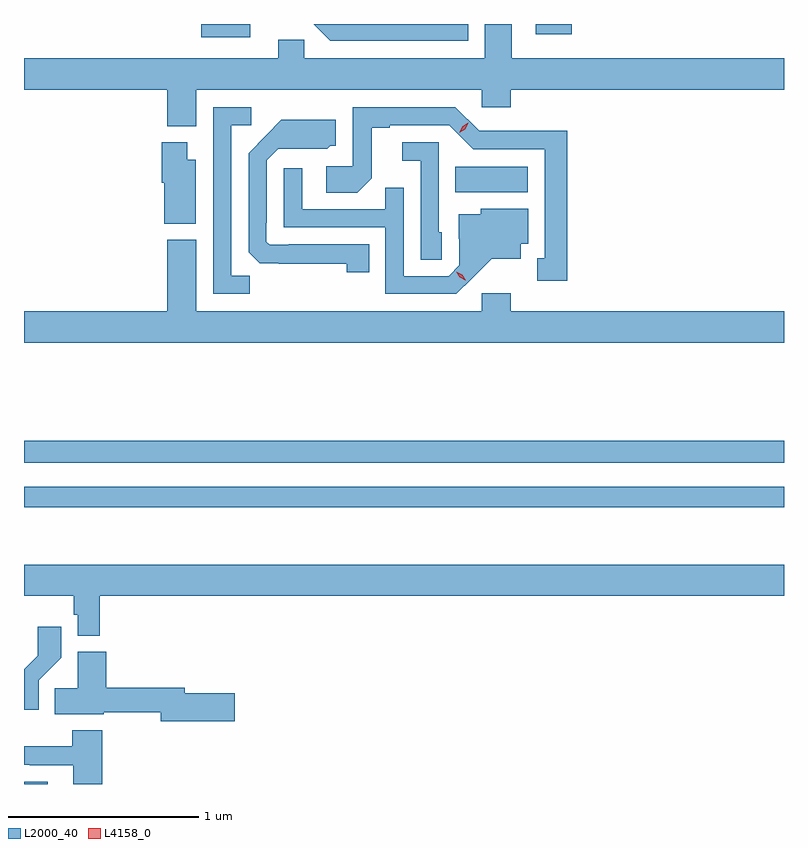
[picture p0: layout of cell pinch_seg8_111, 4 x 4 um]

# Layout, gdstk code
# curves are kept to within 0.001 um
import gdstk
lib = gdstk.Library(unit=1e-6, precision=1e-09)
def R(c, l, rs):  # rectangles x0, y0, x1, y1
    for r in rs: c.add(gdstk.rectangle(r[:2], r[2:], *l))
def P(c, l, *ps):  # polygons
    for p in ps: c.add(gdstk.Polygon(p, *l))
L2000_40 = (2000, 40)
L4158_0 = (4158, 0)

pinch_seg8_111 = lib.new_cell('pinch_seg8_111')
R(pinch_seg8_111, L2000_40, [(1023.765,1084.873,1023.889,1084.886), (1023.765,1086.33,1027.765,1086.438), (1023.765,1086.564,1027.765,1086.68), (1026.034,1087.988,1026.415,1088.122), (1024.699,1088.802,1024.957,1088.873), (1026.459,1088.82,1026.647,1088.873)])
P(pinch_seg8_111, L2000_40, [(1024.672,1088.528),(1026.174,1088.528),(1026.174,1088.435),(1026.326,1088.435),(1026.326,1088.528),(1027.765,1088.528),(1027.765,1088.692),(1026.331,1088.692),(1026.331,1088.873),(1026.191,1088.873),(1026.191,1088.692),(1025.241,1088.692),(1025.241,1088.79),(1025.102,1088.79),(1025.102,1088.692),(1023.765,1088.692),(1023.765,1088.528),(1024.52,1088.528),(1024.52,1088.336),(1024.672,1088.336)],
  [(1026.102,1088.873),(1025.289,1088.873),(1025.378,1088.784),(1026.102,1088.784)],
  [(1024.953,1087.547),(1024.857,1087.547),(1024.857,1088.34),(1024.96,1088.34),(1024.96,1088.436),(1024.761,1088.436),(1024.761,1087.452),(1024.953,1087.452)],
  [(1026.625,1088.312),(1026.384,1088.312),(1026.384,1088.31),(1026.162,1088.31),(1026.036,1088.436),(1025.496,1088.436),(1025.496,1088.124),(1025.355,1088.124),(1025.355,1087.984),(1025.519,1087.984),(1025.595,1088.06),(1025.595,1088.328),(1025.689,1088.328),(1025.689,1088.34),(1026.003,1088.34),(1026.129,1088.214),(1026.506,1088.214),(1026.506,1087.641),(1026.467,1087.641),(1026.467,1087.521),(1026.625,1087.521)],
  [(1025.582,1087.713),(1025.158,1087.713),(1025.158,1087.71),(1025.058,1087.71),(1025.04,1087.728),(1025.04,1087.828),(1025.043,1087.828),(1025.043,1088.157),(1025.103,1088.217),(1025.36,1088.216),(1025.376,1088.232),(1025.407,1088.232),(1025.407,1088.368),(1025.119,1088.368),(1024.947,1088.194),(1024.947,1087.672),(1025.006,1087.613),(1025.464,1087.612),(1025.464,1087.566),(1025.582,1087.566)],
  [(1024.669,1088.158),(1024.624,1088.158),(1024.624,1088.251),(1024.49,1088.251),(1024.49,1088.037),(1024.502,1088.037),(1024.502,1087.823),(1024.669,1087.823)],
  [(1025.964,1087.776),(1025.949,1087.776),(1025.949,1088.25),(1025.757,1088.25),(1025.757,1088.153),(1025.853,1088.153),(1025.853,1087.633),(1025.964,1087.633)],
  [(1026.124,1087.535),(1026.227,1087.637),(1026.379,1087.637),(1026.379,1087.716),(1026.418,1087.716),(1026.418,1087.9),(1026.168,1087.9),(1026.168,1087.873),(1026.053,1087.873),(1026.053,1087.744),(1026.057,1087.744),(1026.057,1087.602),(1026,1087.545),(1025.763,1087.545),(1025.763,1088.012),(1025.665,1088.012),(1025.665,1087.899),(1025.229,1087.899),(1025.229,1088.113),(1025.133,1088.113),(1025.133,1087.803),(1025.667,1087.803),(1025.667,1087.452),(1026.04,1087.452)],
  [(1027.765,1087.36),(1026.326,1087.36),(1026.326,1087.456),(1026.174,1087.456),(1026.174,1087.36),(1024.672,1087.36),(1024.672,1087.738),(1024.52,1087.738),(1024.52,1087.36),(1023.765,1087.36),(1023.765,1087.196),(1027.765,1087.196)],
  [(1023.765,1085.864),(1024.027,1085.864),(1024.027,1085.763),(1024.047,1085.763),(1024.047,1085.654),(1024.163,1085.654),(1024.163,1085.864),(1027.765,1085.864),(1027.765,1086.028),(1023.765,1086.028)],
  [(1023.843,1085.419),(1023.962,1085.538),(1023.962,1085.701),(1023.837,1085.701),(1023.837,1085.549),(1023.765,1085.478),(1023.765,1085.264),(1023.843,1085.264)],
  [(1024.873,1085.351),(1024.612,1085.351),(1024.612,1085.38),(1024.199,1085.38),(1024.199,1085.569),(1024.049,1085.569),(1024.049,1085.378),(1023.928,1085.378),(1023.928,1085.24),(1024.186,1085.24),(1024.186,1085.251),(1024.484,1085.251),(1024.484,1085.204),(1024.873,1085.204)],
  [(1024.178,1085.155),(1024.018,1085.155),(1024.018,1085.071),(1023.765,1085.071),(1023.765,1084.974),(1023.796,1084.974),(1023.796,1084.971),(1024.025,1084.971),(1024.025,1084.873),(1024.178,1084.873)])
P(pinch_seg8_111, L4158_0, [(1026.055,1088.301),(1026.055,1088.301),(1026.073,1088.334),(1026.104,1088.353),(1026.104,1088.353),(1026.104,1088.353),(1026.087,1088.32),(1026.056,1088.301)],
  [(1026.088,1087.524),(1026.058,1087.539),(1026.04,1087.568),(1026.04,1087.568),(1026.04,1087.568),(1026.071,1087.554),(1026.089,1087.524),(1026.089,1087.524)])

lib.write_gds('pinch_seg8_111.gds')
